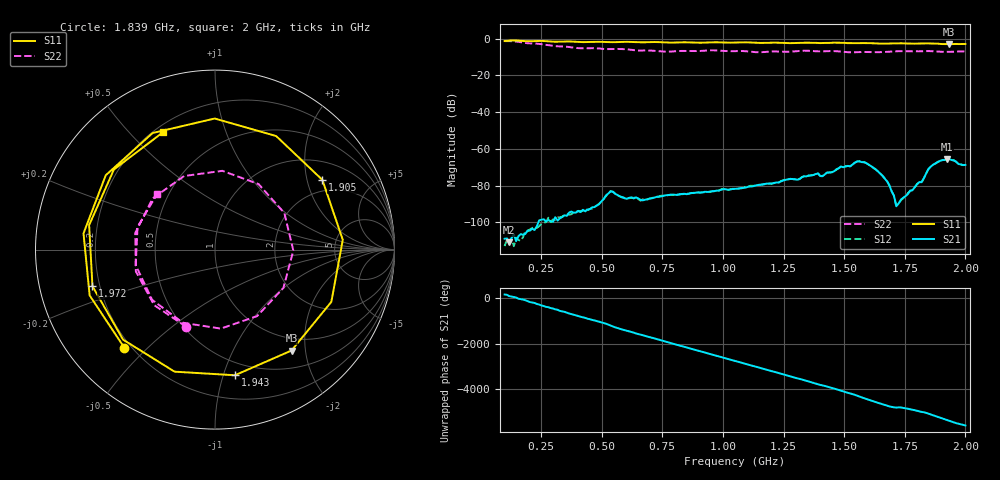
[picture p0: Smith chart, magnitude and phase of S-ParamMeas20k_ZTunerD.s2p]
!Keysight Technologies,N5242B,MY48420967,A.15.65.19
!Date: Monday, December 19, 2022 08:58:38
!Correction: S11(C  2-Port  )
!S21(C  2-Port  )
!S12(C  2-Port  )
!S22(C  2-Port  )
!S2P File: Measurements: S11, S21, S12, S22:
# Hz S  dB  R 50
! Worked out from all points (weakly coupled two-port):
!   201 points, 100 MHz to 2 GHz, reference 50 ohm
!   highest |S21| = -65.50 dB at 1.924 GHz (marker M1); lowest = -110.8 dB at 119 MHz (marker M2)
!   lowest |S11| = -3.0 dB at 1.933 GHz (marker M3), VSWR 5.79, Z = 38.9 - j87.1 ohm
!   |S11| at or under -10 dB: nowhere
!   |S22| runs from -7.4 to -1.3 dB; largest |S21 - S12| = 4.8e-06
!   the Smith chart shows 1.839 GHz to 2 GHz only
!   S11 on the Smith chart (normalised r, x): 1.839 GHz: 0.17, -0.43; 1.905 GHz: 1.57, +2.49; 1.943 GHz: 0.39, -1.09; 1.972 GHz: 0.17, -0.14; 2 GHz: 0.23, +0.63
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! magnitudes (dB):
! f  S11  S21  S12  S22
! 100 MHz  -1.3  -108.9  -112.9  -1.3
! 119 MHz  -1.0  -110.8  -111.6  -1.3
! 423 MHz  -1.9  -93.1  -93.7  -5.2
! 736.5 MHz  -1.9  -86.0  -86.0  -6.8
! 1.05 GHz  -2.1  -81.7  -81.8  -6.8
! 1.202 GHz  -2.2  -78.9  -79.0  -7.0
! 1.373 GHz  -2.3  -74.2  -74.2  -6.8
! 1.411 GHz  -2.4  -74.9  -74.8  -6.9
! 1.487 GHz  -2.3  -69.6  -69.7  -7.0
! 1.563 GHz  -2.4  -66.7  -66.7  -7.3
! 1.629 GHz  -2.5  -71.1  -71.2  -7.4
! 1.687 GHz  -2.7  -79.8  -79.9  -7.1
! 1.791 GHz  -2.8  -80.8  -80.8  -7.0
! 1.819 GHz  -2.7  -78.1  -78.1  -6.9
! 1.839 GHz  -2.6  -73.3  -73.3  -6.8
! 1.867 GHz  -2.7  -68.6  -68.6  -6.9
! 1.905 GHz  -2.9  -66.1  -66.1  -7.2
! 1.924 GHz  -3.0  -65.5  -65.5  -7.2
! 1.933 GHz  -3.0  -65.6  -65.6  -7.2
! 1.943 GHz  -3.0  -66.0  -66.0  -7.2
! 1.972 GHz  -2.9  -68.2  -68.2  -7.0
! 2 GHz  -2.9  -68.7  -68.7  -7.0
